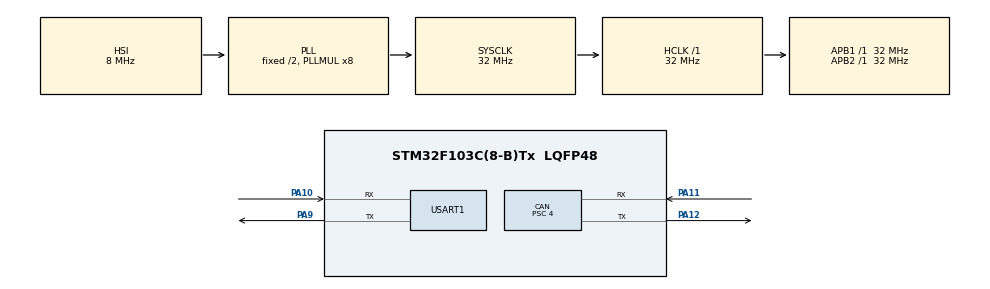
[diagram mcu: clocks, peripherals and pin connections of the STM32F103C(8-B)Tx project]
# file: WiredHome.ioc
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CAN.ABOM=ENABLE
CAN.BS1=CAN_BS1_13TQ
CAN.BS2=CAN_BS2_2TQ
CAN.CalculateBaudRate=500000
CAN.CalculateTimeBit=2000
CAN.CalculateTimeQuantum=125.0
CAN.Mode=CAN_MODE_NORMAL
CAN.NART=ENABLE
CAN.Prescaler=4
CAN.TXFP=ENABLE
Mcu.Family=STM32F1
Mcu.Name=STM32F103C(8-B)Tx
Mcu.Package=LQFP48
NVIC.CAN1_SCE_IRQn=true\:2\:0\:true\:false\:true\:true\:true\:true
NVIC.PriorityGroup=NVIC_PRIORITYGROUP_4
NVIC.USB_LP_CAN1_RX0_IRQn=true\:1\:0\:true\:false\:true\:true\:true\:true
PA10.Mode=Asynchronous
PA10.Signal=USART1_RX
PA11.GPIO_PuPd=GPIO_PULLUP
PA11.Mode=CAN_Activate
PA11.Signal=CAN_RX
PA12.Mode=CAN_Activate
PA12.Signal=CAN_TX
PA9.Mode=Asynchronous
PA9.Signal=USART1_TX
PD0-OSC_IN.Mode=HSE-External-Oscillator
PD0-OSC_IN.Signal=RCC_OSC_IN
PD1-OSC_OUT.Mode=HSE-External-Oscillator
PD1-OSC_OUT.Signal=RCC_OSC_OUT
ProjectManager.HeapSize=0x200
ProjectManager.StackSize=0x400
ProjectManager.TargetToolchain=Makefile
RCC.AHBFreq_Value=32000000
RCC.APB1Freq_Value=32000000
RCC.APB1TimFreq_Value=32000000
RCC.APB2Freq_Value=32000000
RCC.APB2TimFreq_Value=32000000
RCC.HCLKFreq_Value=32000000
RCC.PLLMUL=RCC_PLL_MUL8
RCC.SYSCLKFreq_VALUE=32000000
RCC.SYSCLKSource=RCC_SYSCLKSOURCE_PLLCLK
RCC.USBFreq_Value=32000000
USART1.VirtualMode=VM_ASYNC
VP_SYS_VS_ND.Mode=No_Debug
board=custom

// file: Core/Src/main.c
/* USER CODE BEGIN Header */
/**
 ******************************************************************************
 * @file           : main.c
 * @brief          : Main program body
 ******************************************************************************
 * @attention
 *
 * Copyright (c) 2023 STMicroelectronics.
 * All rights reserved.
 *
 * This software is licensed under terms that can be found in the LICENSE file
 * in the root directory of this software component.
 * If no LICENSE file comes with this software, it is provided AS-IS.
 *
 ******************************************************************************
 */
/* USER CODE END Header */
#include "main.h"
#include "can.h"
#include "usart.h"
#include "gpio.h"

/* USER CODE BEGIN Includes */
#include <stdio.h>
#include <string.h>
#include <unistd.h>

/* USER CODE END Includes */

/* USER CODE BEGIN PM */

#define min(x, y)                                                              \
  ({                                                                           \
    __typeof__(x)   __x = (x);                                                 \
    __typeof__(__x) __y = (__typeof__(__x))(y);                                \
    __x < __y ? __x : __y;                                                     \
  })

/* USER CODE END PM */

/* USER CODE BEGIN PV */

CAN_TxHeaderTypeDef TxHeader;
CAN_RxHeaderTypeDef RxHeader;
uint8_t             TxData[8] = {
              0,
};
uint8_t RxData[9] = {
  0,
};
uint32_t TxMailbox = 0;

/* USER CODE END PV */

void SystemClock_Config(void);

/* USER CODE BEGIN 0 */
void HAL_CAN_RxFifo0MsgPendingCallback(CAN_HandleTypeDef *hcan)
{
  if (HAL_CAN_GetRxMessage(hcan, CAN_RX_FIFO0, &RxHeader, RxData) == HAL_OK)
  {
    HAL_GPIO_TogglePin(GPIOC, GPIO_PIN_13);
    printf("[EMBDD] Can received: %s\n", RxData);
  }
  else
  {
    printf("[EMBDD] Can receive failed\n");
  }
}

void HAL_CAN_ErrorCallback(CAN_HandleTypeDef *hcan)
{
  uint32_t er = HAL_CAN_GetError(hcan);
  printf("[EMBDD] ER CAN %u %08X\n", er, er);
}
/* USER CODE END 0 */

int main(void)
{

  /* MCU Configuration--------------------------------------------------------*/

  /* Reset of all peripherals, Initializes the Flash interface and the Systick.
   */
  HAL_Init();

  /* Configure the system clock */
  SystemClock_Config();

  /* Initialize all configured peripherals */
  MX_GPIO_Init();
  MX_USART1_UART_Init();
  MX_CAN_Init();
  /* USER CODE BEGIN 2 */

  /* USER CODE BEGIN 2 */
  TxHeader.StdId              = 0x0378;
  TxHeader.ExtId              = 0;
  TxHeader.RTR                = CAN_RTR_DATA; // CAN_RTR_REMOTE
  TxHeader.IDE                = CAN_ID_STD;   // CAN_ID_EXT
  TxHeader.DLC                = 8;
  TxHeader.TransmitGlobalTime = 0;

  memset(TxData, 0, sizeof(TxData));
  __enable_irq();
  if (
    HAL_CAN_ActivateNotification(
      &hcan,
      CAN_IT_RX_FIFO0_MSG_PENDING | CAN_IT_ERROR | CAN_IT_BUSOFF |
        CAN_IT_LAST_ERROR_CODE) != HAL_OK)
  {
    Error_Handler();
  }

  if (HAL_CAN_Start(&hcan) != HAL_OK)
  {
    Error_Handler();
  }

  /* USER CODE END 2 */

  /* Infinite loop */
  /* USER CODE BEGIN WHILE */
  unsigned cnt = 0;
  while (1)
  {
    /* USER CODE END WHILE */

    /* USER CODE BEGIN 3 */
    while (HAL_CAN_GetTxMailboxesFreeLevel(&hcan) == 0)
      ;
    snprintf((char *)TxData, sizeof(TxData), "%dHi", ++cnt);
    if (HAL_CAN_AddTxMessage(&hcan, &TxHeader, TxData, &TxMailbox) != HAL_OK)
    {
      printf("[EMBDD] Can failed to send #%u\n", cnt);
    }
    else
    {
      printf("[EMBDD] Can transmitted #%u\n", cnt);
    }
    HAL_Delay(500);
  }
  /* USER CODE END 3 */
}

void SystemClock_Config(void)
{
  RCC_OscInitTypeDef RCC_OscInitStruct = {0};
  RCC_ClkInitTypeDef RCC_ClkInitStruct = {0};

  /** Initializes the RCC Oscillators according to the specified parameters
   * in the RCC_OscInitTypeDef structure.
   */
  RCC_OscInitStruct.OscillatorType      = RCC_OSCILLATORTYPE_HSI;
  RCC_OscInitStruct.HSIState            = RCC_HSI_ON;
  RCC_OscInitStruct.HSICalibrationValue = RCC_HSICALIBRATION_DEFAULT;
  RCC_OscInitStruct.PLL.PLLState        = RCC_PLL_ON;
  RCC_OscInitStruct.PLL.PLLSource       = RCC_PLLSOURCE_HSI_DIV2;
  RCC_OscInitStruct.PLL.PLLMUL          = RCC_PLL_MUL8;
  if (HAL_RCC_OscConfig(&RCC_OscInitStruct) != HAL_OK)
  {
    Error_Handler();
  }

  /** Initializes the CPU, AHB and APB buses clocks
   */
  RCC_ClkInitStruct.ClockType = RCC_CLOCKTYPE_HCLK | RCC_CLOCKTYPE_SYSCLK |
    RCC_CLOCKTYPE_PCLK1 | RCC_CLOCKTYPE_PCLK2;
  RCC_ClkInitStruct.SYSCLKSource   = RCC_SYSCLKSOURCE_PLLCLK;
  RCC_ClkInitStruct.AHBCLKDivider  = RCC_SYSCLK_DIV1;
  RCC_ClkInitStruct.APB1CLKDivider = RCC_HCLK_DIV1;
  RCC_ClkInitStruct.APB2CLKDivider = RCC_HCLK_DIV1;

  if (HAL_RCC_ClockConfig(&RCC_ClkInitStruct, FLASH_LATENCY_1) != HAL_OK)
  {
    Error_Handler();
  }
}

/* USER CODE BEGIN 4 */

int _write(int file, char *ptr, int len)
{
  if (file != STDOUT_FILENO && file != STDERR_FILENO)
  {
    return 0;
  }
  while (len > 0)
  {
    uint16_t send_len = min(len, UINT16_MAX);
    __disable_irq();
    HAL_UART_Transmit(&huart1, (uint8_t *)ptr, send_len, HAL_MAX_DELAY);
    __enable_irq();
    len -= send_len;
  }
  return len;
}

/* USER CODE END 4 */

void Error_Handler(void)
{
  /* USER CODE BEGIN Error_Handler_Debug */
  /* User can add his own implementation to report the HAL error return state */
  __disable_irq();
  while (1)
  {}
  /* USER CODE END Error_Handler_Debug */
}

#ifdef USE_FULL_ASSERT
/**
 * @brief  Reports the name of the source file and the source line number
 *         where the assert_param error has occurred.
 * @param  file: pointer to the source file name
 * @param  line: assert_param error line source number
 * @retval None
 */
void assert_failed(uint8_t *file, uint32_t line)
{
  /* USER CODE BEGIN 6 */
  /* User can add his own implementation to report the file name and line
     number, ex: printf("Wrong parameters value: file %s on line %d\r\n", file,
     line) */
  /* USER CODE END 6 */
}
#endif /* USE_FULL_ASSERT */
